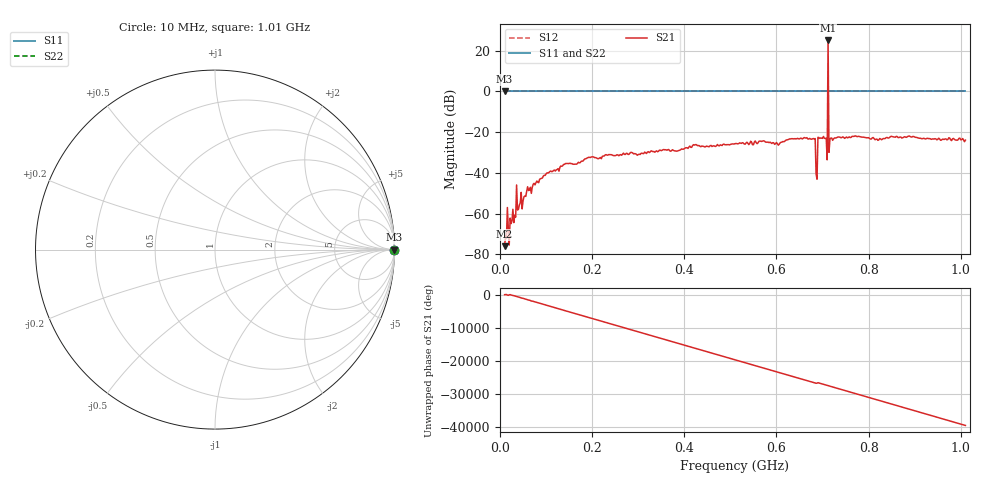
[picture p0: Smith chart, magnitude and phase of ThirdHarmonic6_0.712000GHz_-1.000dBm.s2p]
! 8/15/2025 11:48:33 PM
! C:\ANRITSUVNA\TEMP\TEMP.S2P
! CHANNEL.1
! TR.MEASUREMENT
! RAW.DATA
! RF.CORRECTION.OFF
! AVERAGING.OFF
! IF.BANDWIDTH: 5KHZ
! SWEEPTYPE:  FREQ.SWEEP(Linear)
! Reference Plane Port Info
! PORT:  PORT1  PORT2
! DISTANCE:  0  m  0  m
! TIME:  0  s  0  s
! PHASE.OFFSET:  0  deg.  0  deg.
! LOSS:  0  dB  0  dB
! REF.LOSS:  0  dB  0  dB
! REF.FREQ:  0  Hz  0  Hz
! Power Info
! POWER:  -20  dBm  -20  dBm
! EFF.POWER:  -20  dBm  -20  dBm
! SOURCE.ATTEN:  0  dB  0  dB
! TEST.ATTEN:  0  dB  0  dB
# GHZ S RI R 50.0
! FREQ.GHZ  S11RE  S11IM  S21RE  S21IM  S12RE  S12IM  S22RE  S22IM
!; PortSelection: Port_12
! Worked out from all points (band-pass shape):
!   501 points, 10 MHz to 1.01 GHz, reference 50 ohm
!   highest |S21| = 24.97 dB at 712 MHz (marker M1); lowest = -76.0 dB at 10 MHz (marker M2)
!   |S21| within 3 dB of the highest: 711.8976 MHz to 712.1092 MHz (211.6 kHz wide, 0.0297 % of centre)
!   lowest |S11| = 0.0 dB at 10 MHz (marker M3)
!   |S11| at or under -10 dB: nowhere
!   |S22| runs from 0.0 to 0.0 dB; largest |S21 - S12| = 18
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0.01  1 0  0.000151 4.61e-05  1 0  1 0
0.014  1 0  0.000118 0.000212  1 0  1 0
0.022  1 0  0.000665 0.000396  1 0  1 0
0.032  1 0  0.000904 -0.00012  1 0  1 0
0.062  1 0  -0.00314 -0.00191  1 0  1 0
0.106  1 0  -0.00791 -0.00635  1 0  1 0
0.178  1 0  -0.0192 -0.00238  1 0  1 0
0.344  1 0  0.0301 -0.0152  1 0  1 0
0.51  1 0  -0.0314 0.0409  1 0  1 0
0.678  1 0  -0.0659 -0.0165  1 0  1 0
0.68  1 0  -0.026 0.0643  1 0  1 0
0.684  1 0  0.0461 -0.0517  1 0  1 0
0.69  1 0  0.0272 0.069  1 0  1 0
0.694  1 0  -0.00703 -0.0696  1 0  1 0
0.706  1 0  -0.0534 0.0449  1 0  1 0
0.708  1 0  0.037 0.0601  1 0  1 0
0.712  1 0  2.013 -17.61  1 0  1 0
0.716  1 0  -0.00935 0.0662  1 0  1 0
0.718  1 0  0.0673 0.0227  1 0  1 0
0.734  1 0  -0.00184 0.0757  1 0  1 0
0.844  1 0  0.0645 -0.0309  1 0  1 0
1.01  1 0  -0.0239 0.0585  1 0  1 0
